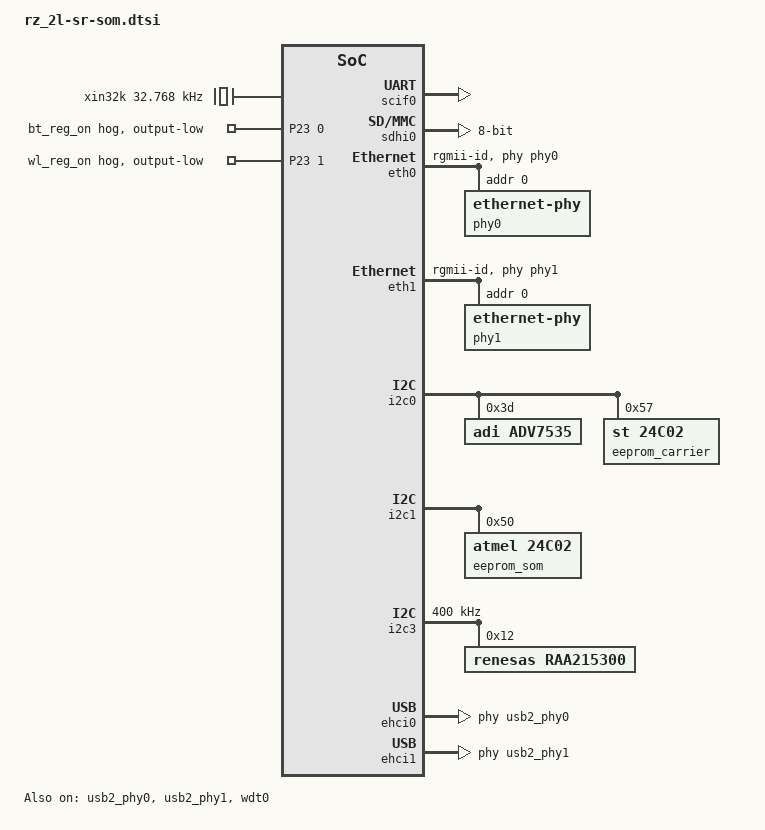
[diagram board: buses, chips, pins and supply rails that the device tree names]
// SPDX-License-Identifier: GPL-2.0
/*
 * Device Tree Source for the SolidRun G2L/V2L Common parts
 *
 * Copyright (C) 2024 SolidRun Ltd.
 */

#include <dt-bindings/gpio/gpio.h>
#include <dt-bindings/net/mxl-8611x.h>
#include <dt-bindings/pinctrl/rzg2l-pinctrl.h>

/ {
	aliases {
		serial0 = &scif0;
		eeprom_som = &eeprom_som;
		eeprom_carrier = &eeprom_carrier;
	};

	chosen {
		stdout-path = "serial0:115200n8";
	};

	config {
		sdio_mux_gpios = <&P22 1 GPIO_ACTIVE_LOW>, <&P39 0 GPIO_ACTIVE_HIGH>;
		usb_vbus_gpios = <&P4 0 GPIO_ACTIVE_HIGH>, <&P42 0 GPIO_ACTIVE_HIGH>;
	};

	wdt-reboot {
		compatible = "wdt-reboot";
		wdt = <&wdt0>;
	};

	/* 32.768kHz crystal */
	xin32k: xin32k-clock {
		compatible = "fixed-clock";
		#clock-cells = <0>;
		clock-frequency = <32768>;
	};
};

// &P4 {
// 	gpio_power_hog {
// 		gpio-hog;
// 		output-high;
// 		line-name = "SD Power On";
// 		gpios = <1 GPIO_ACTIVE_LOW>;
// 	};
// };

&P23 {
	bt_reg_on {
		gpio-hog;
		output-low;
		line-name = "bt_reg_on";
		gpios = <0 GPIO_ACTIVE_HIGH>;
	};

	wl_reg_on {
		gpio-hog;
		output-low;
		line-name = "wl_reg_on";
		gpios = <1 GPIO_ACTIVE_HIGH>;
	};
};

&pinctrl {
	eth0_pins: eth0 {
		pinmux = <RZG2L_PINMUX(28, 1, 1)>, /* ET0_LINKSTA */
			<RZG2L_PINMUX(27, 1, 1)>, /* ET0_MDC */
			<RZG2L_PINMUX(28, 0, 1)>, /* ET0_MDIO */
			<RZG2L_PINMUX(20, 0, 1)>, /* ET0_TXC */
			<RZG2L_PINMUX(20, 1, 1)>, /* ET0_TX_CTL */
			<RZG2L_PINMUX(20, 2, 1)>, /* ET0_TXD0 */
			<RZG2L_PINMUX(21, 0, 1)>, /* ET0_TXD1 */
			<RZG2L_PINMUX(21, 1, 1)>, /* ET0_TXD2 */
			<RZG2L_PINMUX(22, 0, 1)>, /* ET0_TXD3 */
			<RZG2L_PINMUX(24, 0, 1)>, /* ET0_RXC */
			<RZG2L_PINMUX(24, 1, 1)>, /* ET0_RX_CTL */
			<RZG2L_PINMUX(25, 0, 1)>, /* ET0_RXD0 */
			<RZG2L_PINMUX(25, 1, 1)>, /* ET0_RXD1 */
			<RZG2L_PINMUX(26, 0, 1)>, /* ET0_RXD2 */
			<RZG2L_PINMUX(26, 1, 1)>; /* ET0_RXD3 */
	};

	eth1_pins: eth1 {
		pinmux = <RZG2L_PINMUX(37, 2, 1)>, /* ET1_LINKSTA */
			<RZG2L_PINMUX(37, 0, 1)>, /* ET1_MDC */
			<RZG2L_PINMUX(37, 1, 1)>, /* ET1_MDIO */
			<RZG2L_PINMUX(29, 0, 1)>, /* ET1_TXC */
			<RZG2L_PINMUX(29, 1, 1)>, /* ET1_TX_CTL */
			<RZG2L_PINMUX(30, 0, 1)>, /* ET1_TXD0 */
			<RZG2L_PINMUX(30, 1, 1)>, /* ET1_TXD1 */
			<RZG2L_PINMUX(31, 0, 1)>, /* ET1_TXD2 */
			<RZG2L_PINMUX(31, 1, 1)>, /* ET1_TXD3 */
			<RZG2L_PINMUX(33, 1, 1)>, /* ET1_RXC */
			<RZG2L_PINMUX(34, 0, 1)>, /* ET1_RX_CTL */
			<RZG2L_PINMUX(34, 1, 1)>, /* ET1_RXD0 */
			<RZG2L_PINMUX(35, 0, 1)>, /* ET1_RXD1 */
			<RZG2L_PINMUX(35, 1, 1)>, /* ET1_RXD2 */
			<RZG2L_PINMUX(36, 0, 1)>; /* ET1_RXD3 */
  	};

  	i2c3_pins: i2c3 {
		pinmux = <RZG2L_PINMUX(18, 0, 3)>, /* SDA */
		 <RZG2L_PINMUX(18, 1, 3)>; /* SCL */
	};

};

&xinclk {
	clock-frequency = <24000000>;
};

&scif0 {
	status = "okay";
	clock = <100000000>;
};

&sdhi0 {
	/* pinctrl placeholder
	 * If this channel is used for interfacing with a SD card, a power enable
	 * pin (SD0_PWR_EN) must be defined.
	 * The SD0_PWR_EN pin is associated with P4_1.
	 * A HIGH signal on SD0_PWR_EN will enable supply voltage for SD card.
	*/
	bus-width = <8>;
	mutual-channel;
	status = "okay";
};

&sdhi1 {
	status = "disabled";
};

&eth0 {
	pinctrl-names = "default";
	pinctrl-0 = <&eth0_pins>;
	phy-handle = <&phy0>;
	phy-mode = "rgmii-id";
	status = "okay";

	phy0: ethernet-phy@0 {
		reg = <0>;
		mxl-8611x,led0_cfg = <(
			MXL8611X_LEDX_CFG_LINK_UP_TX_ACT_ON |
			MXL8611X_LEDX_CFG_LINK_UP_RX_ACT_ON |
			MXL8611X_LEDX_CFG_LINK_UP_1GB_ON |
			MXL8611X_LEDX_CFG_LINK_UP_100MB_ON |
			MXL8611X_LEDX_CFG_LINK_UP_10MB_ON
		)>;
		mxl-8611x,rx-internal-delay-ps = <0>;
		mxl-8611x,tx-internal-delay-ps-100m = <2250>;
		mxl-8611x,tx-internal-delay-ps-1g = <300>;
	};
};

&eth1 {
	pinctrl-names = "default";
	pinctrl-0 = <&eth1_pins>;
	phy-handle = <&phy1>;
	phy-mode = "rgmii-id";
	status = "okay";

	phy1: ethernet-phy@0 {
		reg = <0>;
		mxl-8611x,led0_cfg = <(
			MXL8611X_LEDX_CFG_LINK_UP_TX_ACT_ON |
			MXL8611X_LEDX_CFG_LINK_UP_RX_ACT_ON |
			MXL8611X_LEDX_CFG_LINK_UP_1GB_ON |
			MXL8611X_LEDX_CFG_LINK_UP_100MB_ON |
			MXL8611X_LEDX_CFG_LINK_UP_10MB_ON
		)>;
		mxl-8611x,rx-internal-delay-ps = <0>;
		mxl-8611x,tx-internal-delay-ps-100m = <2250>;
		mxl-8611x,tx-internal-delay-ps-1g = <300>;
	};
};

&i2c0 {
	pinctrl-names = "default";
	status = "okay";

	adv7535: hdmi@3d {
		compatible = "adi,adv7535";
		reg = <0x3d>;
	};

	eeprom_carrier: eeprom@57 {
		compatible = "st,24c02", "atmel,24c02";
		reg = <0x57>;
		pagesize = <8>;
	};
};

&i2c1 {
	pinctrl-names = "default";
	status = "okay";

	eeprom_som: m24c02@50 {
		compatible = "atmel,24c02";
		reg = <0x50>;
	};
};

&i2c3 {
	pinctrl-0 = <&i2c3_pins>;
	pinctrl-names = "default";
	clock-frequency = <400000>;

	status = "okay";

	raa215300: pmic@12 {
		compatible = "renesas,raa215300";
		reg = <0x12>, <0x6f>;
		reg-names = "main", "rtc";

		clocks = <&xin32k>;
		clock-names = "xin";
	};
};

&usb2_phy0 {
	status = "okay";
};

&usb2_phy1 {
	status = "okay";
};


&ehci0 {
	status = "okay";
	phys = <&usb2_phy0>;
};

&ehci1 {
	status = "okay";
	phys = <&usb2_phy1>;
};

&wdt0 {
	status = "okay";
};
